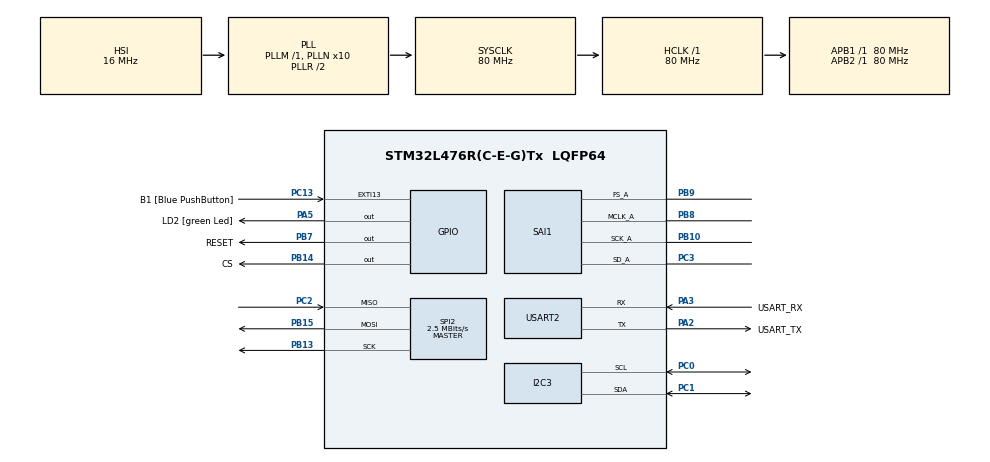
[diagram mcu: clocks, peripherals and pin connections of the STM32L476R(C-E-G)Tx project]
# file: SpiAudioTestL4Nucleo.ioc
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Dma.Request0=SAI1_A
Dma.Request1=SPI2_RX
Dma.Request2=SPI2_TX
Dma.SAI1_A.0.Direction=DMA_MEMORY_TO_PERIPH
Dma.SAI1_A.0.Instance=DMA2_Channel1
Dma.SAI1_A.0.MemDataAlignment=DMA_MDATAALIGN_HALFWORD
Dma.SAI1_A.0.MemInc=DMA_MINC_ENABLE
Dma.SAI1_A.0.Mode=DMA_CIRCULAR
Dma.SAI1_A.0.PeriphDataAlignment=DMA_PDATAALIGN_HALFWORD
Dma.SAI1_A.0.PeriphInc=DMA_PINC_DISABLE
Dma.SAI1_A.0.Priority=DMA_PRIORITY_HIGH
Dma.SPI2_RX.1.Direction=DMA_PERIPH_TO_MEMORY
Dma.SPI2_RX.1.Instance=DMA1_Channel4
Dma.SPI2_RX.1.MemDataAlignment=DMA_MDATAALIGN_BYTE
Dma.SPI2_RX.1.MemInc=DMA_MINC_ENABLE
Dma.SPI2_RX.1.Mode=DMA_NORMAL
Dma.SPI2_RX.1.PeriphDataAlignment=DMA_PDATAALIGN_BYTE
Dma.SPI2_RX.1.PeriphInc=DMA_PINC_DISABLE
Dma.SPI2_RX.1.Priority=DMA_PRIORITY_LOW
Dma.SPI2_TX.2.Direction=DMA_MEMORY_TO_PERIPH
Dma.SPI2_TX.2.Instance=DMA1_Channel5
Dma.SPI2_TX.2.MemDataAlignment=DMA_MDATAALIGN_BYTE
Dma.SPI2_TX.2.MemInc=DMA_MINC_ENABLE
Dma.SPI2_TX.2.Mode=DMA_NORMAL
Dma.SPI2_TX.2.PeriphDataAlignment=DMA_PDATAALIGN_BYTE
Dma.SPI2_TX.2.PeriphInc=DMA_PINC_DISABLE
Dma.SPI2_TX.2.Priority=DMA_PRIORITY_LOW
FATFS._MAX_SS=4096
FATFS._USE_LABEL=1
FATFS._USE_LFN=3
I2C3.Timing=0x10D19CE4
Mcu.Family=STM32L4
Mcu.Name=STM32L476R(C-E-G)Tx
Mcu.Package=LQFP64
NVIC.DMA1_Channel4_IRQn=true\:0\:0\:false\:false\:true\:false\:true\:true
NVIC.DMA1_Channel5_IRQn=true\:0\:0\:false\:false\:true\:false\:true\:true
NVIC.DMA2_Channel1_IRQn=true\:0\:0\:false\:false\:true\:false\:true\:true
NVIC.PriorityGroup=NVIC_PRIORITYGROUP_4
NVIC.SAI1_IRQn=true\:0\:0\:false\:false\:true\:true\:true\:true
NVIC.SPI2_IRQn=true\:0\:0\:false\:false\:true\:true\:true\:true
PA13\ (JTMS-SWDIO).GPIO_Label=TMS
PA13\ (JTMS-SWDIO).Mode=Trace_Asynchronous_SW
PA13\ (JTMS-SWDIO).Signal=SYS_JTMS-SWDIO
PA14\ (JTCK-SWCLK).GPIO_Label=TCK
PA14\ (JTCK-SWCLK).Mode=Trace_Asynchronous_SW
PA14\ (JTCK-SWCLK).Signal=SYS_JTCK-SWCLK
PA2.GPIO_Label=USART_TX
PA2.GPIO_Mode=GPIO_MODE_AF_PP
PA2.GPIO_PuPd=GPIO_NOPULL
PA2.GPIO_Speed=GPIO_SPEED_FREQ_VERY_HIGH
PA2.Mode=Asynchronous
PA2.Signal=USART2_TX
PA3.GPIO_Label=USART_RX
PA3.GPIO_Mode=GPIO_MODE_AF_PP
PA3.GPIO_PuPd=GPIO_NOPULL
PA3.GPIO_Speed=GPIO_SPEED_FREQ_VERY_HIGH
PA3.Mode=Asynchronous
PA3.Signal=USART2_RX
PA5.GPIO_Label=LD2 [green Led]
PA5.GPIO_ModeDefaultOutputPP=GPIO_MODE_OUTPUT_PP
PA5.GPIO_PuPd=GPIO_NOPULL
PA5.GPIO_Speed=GPIO_SPEED_FREQ_LOW
PA5.Signal=GPIO_Output
PB10.Mode=SAI_A_MasterWithClock
PB10.Signal=SAI1_SCK_A
PB13.Mode=Full_Duplex_Master
PB13.Signal=SPI2_SCK
PB14.GPIO_Label=CS
PB14.GPIO_Speed=GPIO_SPEED_FREQ_HIGH
PB14.PinState=GPIO_PIN_SET
PB14.Signal=GPIO_Output
PB15.Mode=Full_Duplex_Master
PB15.Signal=SPI2_MOSI
PB3\ (JTDO-TRACESWO).GPIO_Label=SWO
PB3\ (JTDO-TRACESWO).Mode=Trace_Asynchronous_SW
PB3\ (JTDO-TRACESWO).Signal=SYS_JTDO-SWO
PB7.GPIO_Label=RESET
PB7.Signal=GPIO_Output
PB8.Mode=SAI_A_MasterWithClock
PB8.Signal=SAI1_MCLK_A
PB9.Mode=SAI_A_MasterWithClock
PB9.Signal=SAI1_FS_A
PC0.Mode=I2C
PC0.Signal=I2C3_SCL
PC1.Mode=I2C
PC1.Signal=I2C3_SDA
PC13.GPIO_Label=B1 [Blue PushButton]
PC13.GPIO_ModeDefaultEXTI=GPIO_MODE_IT_FALLING
PC13.GPIO_PuPd=GPIO_NOPULL
PC13.Signal=GPXTI13
PC14-OSC32_IN\ (PC14).Mode=LSE-External-Oscillator
PC14-OSC32_IN\ (PC14).Signal=RCC_OSC32_IN
PC15-OSC32_OUT\ (PC15).Mode=LSE-External-Oscillator
PC15-OSC32_OUT\ (PC15).Signal=RCC_OSC32_OUT
PC2.Mode=Full_Duplex_Master
PC2.Signal=SPI2_MISO
PC3.Mode=SAI_A_MasterWithClock
PC3.Signal=SAI1_SD_A
PH0-OSC_IN\ (PH0).Signal=RCC_OSC_IN
PH1-OSC_OUT\ (PH1).Signal=RCC_OSC_OUT
ProjectManager.HeapSize=0x200
ProjectManager.StackSize=0x400
ProjectManager.TargetToolchain=CMake
RCC.ADCFreq_Value=64000000
RCC.AHBFreq_Value=80000000
RCC.APB1Freq_Value=80000000
RCC.APB1TimFreq_Value=80000000
RCC.APB2Freq_Value=80000000
RCC.APB2TimFreq_Value=80000000
RCC.CortexFreq_Value=80000000
RCC.HCLKFreq_Value=80000000
RCC.HSE_VALUE=8000000
RCC.HSI_VALUE=16000000
RCC.MSI_VALUE=4000000
RCC.PLLN=10
RCC.PLLP=RCC_PLLP_DIV17
RCC.PLLSAI2N=12
RCC.PLLSAI2P=RCC_PLLP_DIV17
RCC.PLLSourceVirtual=RCC_PLLSOURCE_HSI
RCC.PREFETCH_ENABLE=1
RCC.SAI1CLockSelection=RCC_SAI1CLKSOURCE_PLLSAI2
RCC.SYSCLKFreq_VALUE=80000000
RCC.SYSCLKSource=RCC_SYSCLKSOURCE_PLLCLK
RCC.USBFreq_Value=64000000
RCC.VCOOutputFreq_Value=160000000
SAI1.AudioFrequency-SAI_A_MasterWithClock=SAI_AUDIO_FREQUENCY_44K
SAI1.ErrorAudioFreq-SAI_A_MasterWithClock=0.03 %
SAI1.InitProtocol-SAI_A_MasterWithClock=Enable
SAI1.Instance-SAI_A_MasterWithClock=SAI$Index_Block_A
SAI1.MClockEnable-SAI_A_MasterWithClock=SAI_MASTERCLOCK_ENABLE
SAI1.RealAudioFreq-SAI_A_MasterWithClock=44.117 KHz
SAI1.VirtualMode-SAI_A_MasterWithClock=VM_MASTER
SAI1.VirtualProtocol-SAI_A_BASIC=VM_BASIC_PROTOCOL
SPI2.BaudRatePrescaler=SPI_BAUDRATEPRESCALER_32
SPI2.CalculateBaudRate=2.5 MBits/s
SPI2.DataSize=SPI_DATASIZE_8BIT
SPI2.Direction=SPI_DIRECTION_2LINES
SPI2.Mode=SPI_MODE_MASTER
SPI2.VirtualType=VM_MASTER
USART2.VirtualMode-Asynchronous=VM_ASYNC
VP_FATFS_VS_Generic.Mode=User_defined
VP_SAI1_VP_$IpInstance_SAIA_SAI_BASIC.Mode=SAI_A_BASIC
board=NUCLEO-L476RG

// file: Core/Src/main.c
/* USER CODE BEGIN Header */
/**
  ******************************************************************************
  * @file           : main.c
  * @brief          : Main program body
  ******************************************************************************
  * @attention
  *
  * Copyright (c) 2026 STMicroelectronics.
  * All rights reserved.
  *
  * This software is licensed under terms that can be found in the LICENSE file
  * in the root directory of this software component.
  * If no LICENSE file comes with this software, it is provided AS-IS.
  *
  ******************************************************************************
  */
/* USER CODE END Header */
#include "main.h"
#include "fatfs.h"

/* USER CODE BEGIN Includes */
#include "sd_functions.h"
#include "stdio.h"
#include "sd_benchmark.h"
#include "sdcard_functions.h"
#include "tlv3100.h"

/* USER CODE END Includes */

/* USER CODE BEGIN PD */
#define MAX_WAV_FILES 20
#define AUDIO_BUFFER_SAMPLES   2048   // per buffer (stereo: 1024 frames)
#define WAV_HEADER_SIZE        44     // skip standard PCM WAV header
#define MAX_WAV_FILES 20
int current_song_index = 0;

/* USER CODE END PD */

I2C_HandleTypeDef hi2c3;

SAI_HandleTypeDef hsai_BlockA1;
DMA_HandleTypeDef hdma_sai1_a;

SPI_HandleTypeDef hspi2;
DMA_HandleTypeDef hdma_spi2_rx;
DMA_HandleTypeDef hdma_spi2_tx;

UART_HandleTypeDef huart2;

void SystemClock_Config(void);
static void MX_GPIO_Init(void);
static void MX_DMA_Init(void);
static void MX_SAI1_Init(void);
static void MX_SPI2_Init(void);
static void MX_USART2_UART_Init(void);
static void MX_I2C3_Init(void);

/* USER CODE BEGIN 0 */
int _write(int file, char *ptr, int len) {
    // 1: stdout, 2: stderr
    if (file == 1 || file == 2) {
        // Send data through USART2
        // We use a blocking transmit here
        HAL_StatusTypeDef status = HAL_UART_Transmit(&huart2, (uint8_t *)ptr, len, HAL_MAX_DELAY);

        if (status == HAL_OK) {
            return len; // Return number of bytes written
        }
    }
    return -1; // Return -1 if write failed or file descriptor is invalid
}
/* USER CODE END 0 */

int main(void)
{

  /* MCU Configuration--------------------------------------------------------*/

  /* Reset of all peripherals, Initializes the Flash interface and the Systick. */
  HAL_Init();

  /* Configure the system clock */
  SystemClock_Config();

  /* Initialize all configured peripherals */
  MX_GPIO_Init();
  MX_DMA_Init();
  MX_SAI1_Init();
  MX_SPI2_Init();
  MX_USART2_UART_Init();
  //MX_FATFS_Init();
  MX_I2C3_Init();
  /* USER CODE BEGIN 2 */

  HAL_GPIO_WritePin(RESET_GPIO_Port, RESET_Pin, GPIO_PIN_RESET);
  HAL_Delay(10); // Hold reset for 10ms

  // Pull PC5 HIGH to bring the DAC out of reset
  HAL_GPIO_WritePin(RESET_GPIO_Port, RESET_Pin, GPIO_PIN_SET);
  HAL_Delay(10); // Give the DAC 10ms to boot up before sending I2C commands

  DAC3100_Init(&hi2c3);
  //HAL_SAI_Transmit_DMA(&hsai_BlockA1, (uint8_t*)SineWave_Buffer, SINE_SAMPLES * 2);
  HAL_Delay(10);

  sd_mount();
  char my_wav_files[MAX_WAV_FILES][MAX_FILENAME_LEN];
  int total_files = SD_GetWavFiles("/", my_wav_files, MAX_WAV_FILES);

  printf("\r\n--- Found %d WAV Files ---\r\n", total_files);
  for (int i = 0; i < total_files; i++) {
      // %d prints the index, %s prints the string at row i
      printf("[%d] %s\r\n", i, my_wav_files[i]);
  }

    Audio_Play(my_wav_files[0]);

   tlv3100_unmute(&hi2c3);

  /* USER CODE END 2 */

  /* Infinite loop */
  while (1)
  {

    /* USER CODE BEGIN 3 */
    if (BufferReady[0]) {
        BufferReady[0] = 0;
        if (PlaybackActive) Audio_FillBuffer(0);
    }
    if (BufferReady[1]) {
        BufferReady[1] = 0;
        if (PlaybackActive) Audio_FillBuffer(1);
    }

    // Optional: stop SAI cleanly when file ends
    if (!PlaybackActive) {

        // 1. Stop the current DMA transfer and close the file
        HAL_SAI_DMAStop(&hsai_BlockA1);
        if (FileIsOpen) {
            f_close(&WavFile);
            FileIsOpen = 0;
        }

        // 2. Advance to the next song
        current_song_index++;

        // Wrap around to the start of the playlist if we hit the end
        if (current_song_index >= total_files) {
            current_song_index = 0;
        }

        printf("\r\n--- Track Ended. Auto-Playing Next ---\r\n");

        // 3. Play the next file in the array
        if (total_files > 0) {
            Audio_Play(my_wav_files[current_song_index]);
        }
    }
  }
  /* USER CODE END 3 */
}

void SystemClock_Config(void)
{
  RCC_OscInitTypeDef RCC_OscInitStruct = {0};
  RCC_ClkInitTypeDef RCC_ClkInitStruct = {0};

  /** Configure the main internal regulator output voltage
  */
  if (HAL_PWREx_ControlVoltageScaling(PWR_REGULATOR_VOLTAGE_SCALE1) != HAL_OK)
  {
    Error_Handler();
  }

  /** Initializes the RCC Oscillators according to the specified parameters
  * in the RCC_OscInitTypeDef structure.
  */
  RCC_OscInitStruct.OscillatorType = RCC_OSCILLATORTYPE_HSI;
  RCC_OscInitStruct.HSIState = RCC_HSI_ON;
  RCC_OscInitStruct.HSICalibrationValue = RCC_HSICALIBRATION_DEFAULT;
  RCC_OscInitStruct.PLL.PLLState = RCC_PLL_ON;
  RCC_OscInitStruct.PLL.PLLSource = RCC_PLLSOURCE_HSI;
  RCC_OscInitStruct.PLL.PLLM = 1;
  RCC_OscInitStruct.PLL.PLLN = 10;
  RCC_OscInitStruct.PLL.PLLP = RCC_PLLP_DIV17;
  RCC_OscInitStruct.PLL.PLLQ = RCC_PLLQ_DIV2;
  RCC_OscInitStruct.PLL.PLLR = RCC_PLLR_DIV2;
  if (HAL_RCC_OscConfig(&RCC_OscInitStruct) != HAL_OK)
  {
    Error_Handler();
  }

  /** Initializes the CPU, AHB and APB buses clocks
  */
  RCC_ClkInitStruct.ClockType = RCC_CLOCKTYPE_HCLK|RCC_CLOCKTYPE_SYSCLK
                              |RCC_CLOCKTYPE_PCLK1|RCC_CLOCKTYPE_PCLK2;
  RCC_ClkInitStruct.SYSCLKSource = RCC_SYSCLKSOURCE_PLLCLK;
  RCC_ClkInitStruct.AHBCLKDivider = RCC_SYSCLK_DIV1;
  RCC_ClkInitStruct.APB1CLKDivider = RCC_HCLK_DIV1;
  RCC_ClkInitStruct.APB2CLKDivider = RCC_HCLK_DIV1;

  if (HAL_RCC_ClockConfig(&RCC_ClkInitStruct, FLASH_LATENCY_4) != HAL_OK)
  {
    Error_Handler();
  }
}

static void MX_I2C3_Init(void)
{

  hi2c3.Instance = I2C3;
  hi2c3.Init.Timing = 0x10D19CE4;
  hi2c3.Init.OwnAddress1 = 0;
  hi2c3.Init.AddressingMode = I2C_ADDRESSINGMODE_7BIT;
  hi2c3.Init.DualAddressMode = I2C_DUALADDRESS_DISABLE;
  hi2c3.Init.OwnAddress2 = 0;
  hi2c3.Init.OwnAddress2Masks = I2C_OA2_NOMASK;
  hi2c3.Init.GeneralCallMode = I2C_GENERALCALL_DISABLE;
  hi2c3.Init.NoStretchMode = I2C_NOSTRETCH_DISABLE;
  if (HAL_I2C_Init(&hi2c3) != HAL_OK)
  {
    Error_Handler();
  }

  /** Configure Analogue filter
  */
  if (HAL_I2CEx_ConfigAnalogFilter(&hi2c3, I2C_ANALOGFILTER_ENABLE) != HAL_OK)
  {
    Error_Handler();
  }

  /** Configure Digital filter
  */
  if (HAL_I2CEx_ConfigDigitalFilter(&hi2c3, 0) != HAL_OK)
  {
    Error_Handler();
  }

}

static void MX_SAI1_Init(void)
{

  hsai_BlockA1.Instance = SAI1_Block_A;
  hsai_BlockA1.Init.AudioMode = SAI_MODEMASTER_TX;
  hsai_BlockA1.Init.Synchro = SAI_ASYNCHRONOUS;
  hsai_BlockA1.Init.OutputDrive = SAI_OUTPUTDRIVE_DISABLE;
  hsai_BlockA1.Init.NoDivider = SAI_MASTERDIVIDER_ENABLE;
  hsai_BlockA1.Init.FIFOThreshold = SAI_FIFOTHRESHOLD_EMPTY;
  hsai_BlockA1.Init.AudioFrequency = SAI_AUDIO_FREQUENCY_44K;
  hsai_BlockA1.Init.SynchroExt = SAI_SYNCEXT_DISABLE;
  hsai_BlockA1.Init.MonoStereoMode = SAI_STEREOMODE;
  hsai_BlockA1.Init.CompandingMode = SAI_NOCOMPANDING;
  hsai_BlockA1.Init.TriState = SAI_OUTPUT_NOTRELEASED;
  if (HAL_SAI_InitProtocol(&hsai_BlockA1, SAI_I2S_STANDARD, SAI_PROTOCOL_DATASIZE_16BIT, 2) != HAL_OK)
  {
    Error_Handler();
  }

}

static void MX_SPI2_Init(void)
{

  /* SPI2 parameter configuration*/
  hspi2.Instance = SPI2;
  hspi2.Init.Mode = SPI_MODE_MASTER;
  hspi2.Init.Direction = SPI_DIRECTION_2LINES;
  hspi2.Init.DataSize = SPI_DATASIZE_8BIT;
  hspi2.Init.CLKPolarity = SPI_POLARITY_LOW;
  hspi2.Init.CLKPhase = SPI_PHASE_1EDGE;
  hspi2.Init.NSS = SPI_NSS_SOFT;
  hspi2.Init.BaudRatePrescaler = SPI_BAUDRATEPRESCALER_32;
  hspi2.Init.FirstBit = SPI_FIRSTBIT_MSB;
  hspi2.Init.TIMode = SPI_TIMODE_DISABLE;
  hspi2.Init.CRCCalculation = SPI_CRCCALCULATION_DISABLE;
  hspi2.Init.CRCPolynomial = 7;
  hspi2.Init.CRCLength = SPI_CRC_LENGTH_DATASIZE;
  hspi2.Init.NSSPMode = SPI_NSS_PULSE_ENABLE;
  if (HAL_SPI_Init(&hspi2) != HAL_OK)
  {
    Error_Handler();
  }

}

static void MX_USART2_UART_Init(void)
{

  huart2.Instance = USART2;
  huart2.Init.BaudRate = 115200;
  huart2.Init.WordLength = UART_WORDLENGTH_8B;
  huart2.Init.StopBits = UART_STOPBITS_1;
  huart2.Init.Parity = UART_PARITY_NONE;
  huart2.Init.Mode = UART_MODE_TX_RX;
  huart2.Init.HwFlowCtl = UART_HWCONTROL_NONE;
  huart2.Init.OverSampling = UART_OVERSAMPLING_16;
  huart2.Init.OneBitSampling = UART_ONE_BIT_SAMPLE_DISABLE;
  huart2.AdvancedInit.AdvFeatureInit = UART_ADVFEATURE_NO_INIT;
  if (HAL_UART_Init(&huart2) != HAL_OK)
  {
    Error_Handler();
  }

}

static void MX_DMA_Init(void)
{

  /* DMA controller clock enable */
  __HAL_RCC_DMA2_CLK_ENABLE();
  __HAL_RCC_DMA1_CLK_ENABLE();

  /* DMA interrupt init */
  /* DMA1_Channel4_IRQn interrupt configuration */
  HAL_NVIC_SetPriority(DMA1_Channel4_IRQn, 0, 0);
  HAL_NVIC_EnableIRQ(DMA1_Channel4_IRQn);
  /* DMA1_Channel5_IRQn interrupt configuration */
  HAL_NVIC_SetPriority(DMA1_Channel5_IRQn, 0, 0);
  HAL_NVIC_EnableIRQ(DMA1_Channel5_IRQn);
  /* DMA2_Channel1_IRQn interrupt configuration */
  HAL_NVIC_SetPriority(DMA2_Channel1_IRQn, 0, 0);
  HAL_NVIC_EnableIRQ(DMA2_Channel1_IRQn);

}

static void MX_GPIO_Init(void)
{
  GPIO_InitTypeDef GPIO_InitStruct = {0};

  /* GPIO Ports Clock Enable */
  __HAL_RCC_GPIOC_CLK_ENABLE();
  __HAL_RCC_GPIOH_CLK_ENABLE();
  __HAL_RCC_GPIOA_CLK_ENABLE();
  __HAL_RCC_GPIOB_CLK_ENABLE();

  /*Configure GPIO pin Output Level */
  HAL_GPIO_WritePin(LD2_GPIO_Port, LD2_Pin, GPIO_PIN_RESET);

  /*Configure GPIO pin Output Level */
  HAL_GPIO_WritePin(CS_GPIO_Port, CS_Pin, GPIO_PIN_SET);

  /*Configure GPIO pin Output Level */
  HAL_GPIO_WritePin(RESET_GPIO_Port, RESET_Pin, GPIO_PIN_RESET);

  /*Configure GPIO pin : B1_Pin */
  GPIO_InitStruct.Pin = B1_Pin;
  GPIO_InitStruct.Mode = GPIO_MODE_IT_FALLING;
  GPIO_InitStruct.Pull = GPIO_NOPULL;
  HAL_GPIO_Init(B1_GPIO_Port, &GPIO_InitStruct);

  /*Configure GPIO pin : LD2_Pin */
  GPIO_InitStruct.Pin = LD2_Pin;
  GPIO_InitStruct.Mode = GPIO_MODE_OUTPUT_PP;
  GPIO_InitStruct.Pull = GPIO_NOPULL;
  GPIO_InitStruct.Speed = GPIO_SPEED_FREQ_LOW;
  HAL_GPIO_Init(LD2_GPIO_Port, &GPIO_InitStruct);

  /*Configure GPIO pin : CS_Pin */
  GPIO_InitStruct.Pin = CS_Pin;
  GPIO_InitStruct.Mode = GPIO_MODE_OUTPUT_PP;
  GPIO_InitStruct.Pull = GPIO_NOPULL;
  GPIO_InitStruct.Speed = GPIO_SPEED_FREQ_HIGH;
  HAL_GPIO_Init(CS_GPIO_Port, &GPIO_InitStruct);

  /*Configure GPIO pin : RESET_Pin */
  GPIO_InitStruct.Pin = RESET_Pin;
  GPIO_InitStruct.Mode = GPIO_MODE_OUTPUT_PP;
  GPIO_InitStruct.Pull = GPIO_NOPULL;
  GPIO_InitStruct.Speed = GPIO_SPEED_FREQ_LOW;
  HAL_GPIO_Init(RESET_GPIO_Port, &GPIO_InitStruct);

}

/* USER CODE BEGIN 4 */
void HAL_SAI_TxHalfCpltCallback(SAI_HandleTypeDef *hsai)
{
    if (hsai->Instance == hsai_BlockA1.Instance)
        BufferReady[0] = 1;
}

// Called by HAL when the second half of the DMA buffer is done — refill buffer 1
void HAL_SAI_TxCpltCallback(SAI_HandleTypeDef *hsai)
{
    if (hsai->Instance == hsai_BlockA1.Instance)
        BufferReady[1] = 1;
}

/* USER CODE END 4 */

void Error_Handler(void)
{
  __disable_irq();
  while (1)
  {
  }
}
